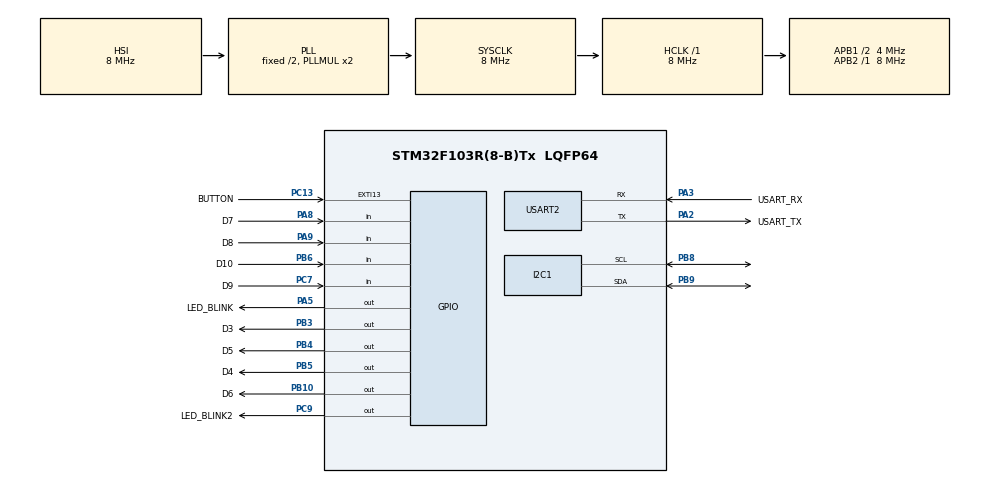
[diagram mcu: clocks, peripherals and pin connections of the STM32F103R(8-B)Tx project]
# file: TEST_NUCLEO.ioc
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Mcu.Family=STM32F1
Mcu.Name=STM32F103R(8-B)Tx
Mcu.Package=LQFP64
NVIC.PriorityGroup=NVIC_PRIORITYGROUP_4
NVIC.TIM2_IRQn=true\:0\:0\:false\:false\:true\:true\:true
PA13.GPIO_Label=TMS
PA13.Mode=Serial_Wire
PA13.Signal=SYS_JTMS-SWDIO
PA14.GPIO_Label=TCK
PA14.Mode=Serial_Wire
PA14.Signal=SYS_JTCK-SWCLK
PA2.GPIO_Label=USART_TX
PA2.GPIO_Mode=GPIO_MODE_AF_PP
PA2.GPIO_PuPd=GPIO_NOPULL
PA2.GPIO_Speed=GPIO_SPEED_FREQ_LOW
PA2.Mode=Asynchronous
PA2.Signal=USART2_TX
PA3.GPIO_Label=USART_RX
PA3.GPIO_Mode=GPIO_MODE_AF_PP
PA3.GPIO_PuPd=GPIO_NOPULL
PA3.GPIO_Speed=GPIO_SPEED_FREQ_LOW
PA3.Mode=Asynchronous
PA3.Signal=USART2_RX
PA5.GPIO_Label=LED_BLINK
PA5.GPIO_ModeDefaultOutputPP=GPIO_MODE_OUTPUT_PP
PA5.GPIO_PuPd=GPIO_NOPULL
PA5.GPIO_Speed=GPIO_SPEED_FREQ_LOW
PA5.Signal=GPIO_Output
PA8.GPIO_Label=D7
PA8.GPIO_PuPd=GPIO_PULLUP
PA8.Signal=GPIO_Input
PA9.GPIO_Label=D8
PA9.GPIO_PuPd=GPIO_PULLUP
PA9.Signal=GPIO_Input
PB10.GPIO_Label=D6
PB10.Signal=GPIO_Output
PB3.GPIO_Label=D3
PB3.Signal=GPIO_Output
PB4.GPIO_Label=D5
PB4.Signal=GPIO_Output
PB5.GPIO_Label=D4
PB5.Signal=GPIO_Output
PB6.GPIO_Label=D10
PB6.GPIO_PuPd=GPIO_PULLUP
PB6.Signal=GPIO_Input
PB8.Mode=I2C
PB8.Signal=I2C1_SCL
PB9.Mode=I2C
PB9.Signal=I2C1_SDA
PC13-TAMPER-RTC.GPIO_Label=BUTTON
PC13-TAMPER-RTC.GPIO_PuPd=GPIO_PULLUP
PC13-TAMPER-RTC.Signal=GPXTI13
PC14-OSC32_IN.Mode=LSE-External-Oscillator
PC14-OSC32_IN.Signal=RCC_OSC32_IN
PC15-OSC32_OUT.Mode=LSE-External-Oscillator
PC15-OSC32_OUT.Signal=RCC_OSC32_OUT
PC7.GPIO_Label=D9
PC7.GPIO_PuPd=GPIO_PULLUP
PC7.Signal=GPIO_Input
PC9.GPIO_Label=LED_BLINK2
PC9.Signal=GPIO_Output
PD0-OSC_IN.Mode=HSE-External-Clock-Source
PD0-OSC_IN.Signal=RCC_OSC_IN
PD1-OSC_OUT.Mode=HSE-External-Clock-Source
PD1-OSC_OUT.Signal=RCC_OSC_OUT
ProjectManager.HeapSize=0x200
ProjectManager.StackSize=0x400
ProjectManager.TargetToolchain=STM32CubeIDE
RCC.AHBFreq_Value=8000000
RCC.APB1CLKDivider=RCC_HCLK_DIV2
RCC.APB1Freq_Value=4000000
RCC.APB1TimFreq_Value=8000000
RCC.APB2Freq_Value=8000000
RCC.APB2TimFreq_Value=8000000
RCC.HCLKFreq_Value=8000000
RCC.RTCClockSelection=RCC_RTCCLKSOURCE_LSE
RCC.SYSCLKFreq_VALUE=8000000
RCC.SYSCLKSource=RCC_SYSCLKSOURCE_PLLCLK
RCC.USBFreq_Value=8000000
TIM2.Period=9
TIM2.Prescaler=7999
USART2.VirtualMode=VM_ASYNC
VP_TIM2_VS_ClockSourceINT.Mode=Internal
board=NUCLEO-F103RB

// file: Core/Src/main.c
/* USER CODE BEGIN Header */
/**
  ******************************************************************************
  * @file           : main.c
  * @brief          : Main program body
  ******************************************************************************
  * @attention
  *
  * <h2><center>&copy; Copyright (c) 2025 STMicroelectronics.
  * All rights reserved.</center></h2>
  *
  * This software component is licensed by ST under BSD 3-Clause license,
  * the "License"; You may not use this file except in compliance with the
  * License. You may obtain a copy of the License at:
  *                        opensource.org/licenses/BSD-3-Clause
  *
  ******************************************************************************
  */
/* USER CODE END Header */
#include "main.h"

/* USER CODE BEGIN Includes */
#include "software_timer.h"
#include "button.h"
#include "i2c-lcd.h"
#include "global.h"
#include "display.h"
#include "scheduler.h"
#include "fsm_automatic.h"
#include "fsm_manual.h"
#include "fsm_mode.h"
#include "tasks.h"
/* USER CODE END Includes */

I2C_HandleTypeDef hi2c1;

TIM_HandleTypeDef htim2;

UART_HandleTypeDef huart2;

void SystemClock_Config(void);
static void MX_GPIO_Init(void);
static void MX_USART2_UART_Init(void);
static void MX_TIM2_Init(void);
static void MX_I2C1_Init(void);

int main(void)
{

  /* MCU Configuration--------------------------------------------------------*/

  /* Reset of all peripherals, Initializes the Flash interface and the Systick. */
  HAL_Init();

  /* Configure the system clock */
  SystemClock_Config();

  /* Initialize all configured peripherals */
  MX_GPIO_Init();
  MX_USART2_UART_Init();
  MX_TIM2_Init();
  MX_I2C1_Init();
  /* USER CODE BEGIN 2 */
  HAL_TIM_Base_Start_IT(&htim2);
  lcd_init();
  SCH_Init();
  /* USER CODE END 2 */

  /* Infinite loop */
  /* USER CODE BEGIN WHILE */
  setTimer(3, 125);
  setTimer(4, 1000);

  SCH_Add_Task(timerRun, 0, 1);
  SCH_Add_Task(getKeyInput, 1, 1);
  SCH_Add_Task(task_led_blinky, 3, 1);
  SCH_Add_Task(fsm_mode_run, 4, 1);
  SCH_Add_Task(fsm_automatic_run, 5, 1);
  SCH_Add_Task(fsm_manual_run, 6, 1);
  SCH_Add_Task(pedestrian_cossing, 7, 1);
  while (1)
  {
	  SCH_Dispatch_Tasks();
    /* USER CODE END WHILE */

  }
}

void SystemClock_Config(void)
{
  RCC_OscInitTypeDef RCC_OscInitStruct = {0};
  RCC_ClkInitTypeDef RCC_ClkInitStruct = {0};

  /** Initializes the RCC Oscillators according to the specified parameters
  * in the RCC_OscInitTypeDef structure.
  */
  RCC_OscInitStruct.OscillatorType = RCC_OSCILLATORTYPE_HSI;
  RCC_OscInitStruct.HSIState = RCC_HSI_ON;
  RCC_OscInitStruct.HSICalibrationValue = RCC_HSICALIBRATION_DEFAULT;
  RCC_OscInitStruct.PLL.PLLState = RCC_PLL_ON;
  RCC_OscInitStruct.PLL.PLLSource = RCC_PLLSOURCE_HSI_DIV2;
  RCC_OscInitStruct.PLL.PLLMUL = RCC_PLL_MUL2;
  if (HAL_RCC_OscConfig(&RCC_OscInitStruct) != HAL_OK)
  {
    Error_Handler();
  }
  /** Initializes the CPU, AHB and APB buses clocks
  */
  RCC_ClkInitStruct.ClockType = RCC_CLOCKTYPE_HCLK|RCC_CLOCKTYPE_SYSCLK
                              |RCC_CLOCKTYPE_PCLK1|RCC_CLOCKTYPE_PCLK2;
  RCC_ClkInitStruct.SYSCLKSource = RCC_SYSCLKSOURCE_PLLCLK;
  RCC_ClkInitStruct.AHBCLKDivider = RCC_SYSCLK_DIV1;
  RCC_ClkInitStruct.APB1CLKDivider = RCC_HCLK_DIV2;
  RCC_ClkInitStruct.APB2CLKDivider = RCC_HCLK_DIV1;

  if (HAL_RCC_ClockConfig(&RCC_ClkInitStruct, FLASH_LATENCY_0) != HAL_OK)
  {
    Error_Handler();
  }
}

static void MX_I2C1_Init(void)
{

  hi2c1.Instance = I2C1;
  hi2c1.Init.ClockSpeed = 100000;
  hi2c1.Init.DutyCycle = I2C_DUTYCYCLE_2;
  hi2c1.Init.OwnAddress1 = 0;
  hi2c1.Init.AddressingMode = I2C_ADDRESSINGMODE_7BIT;
  hi2c1.Init.DualAddressMode = I2C_DUALADDRESS_DISABLE;
  hi2c1.Init.OwnAddress2 = 0;
  hi2c1.Init.GeneralCallMode = I2C_GENERALCALL_DISABLE;
  hi2c1.Init.NoStretchMode = I2C_NOSTRETCH_DISABLE;
  if (HAL_I2C_Init(&hi2c1) != HAL_OK)
  {
    Error_Handler();
  }

}

static void MX_TIM2_Init(void)
{

  TIM_ClockConfigTypeDef sClockSourceConfig = {0};
  TIM_MasterConfigTypeDef sMasterConfig = {0};

  htim2.Instance = TIM2;
  htim2.Init.Prescaler = 7999;
  htim2.Init.CounterMode = TIM_COUNTERMODE_UP;
  htim2.Init.Period = 9;
  htim2.Init.ClockDivision = TIM_CLOCKDIVISION_DIV1;
  htim2.Init.AutoReloadPreload = TIM_AUTORELOAD_PRELOAD_DISABLE;
  if (HAL_TIM_Base_Init(&htim2) != HAL_OK)
  {
    Error_Handler();
  }
  sClockSourceConfig.ClockSource = TIM_CLOCKSOURCE_INTERNAL;
  if (HAL_TIM_ConfigClockSource(&htim2, &sClockSourceConfig) != HAL_OK)
  {
    Error_Handler();
  }
  sMasterConfig.MasterOutputTrigger = TIM_TRGO_RESET;
  sMasterConfig.MasterSlaveMode = TIM_MASTERSLAVEMODE_DISABLE;
  if (HAL_TIMEx_MasterConfigSynchronization(&htim2, &sMasterConfig) != HAL_OK)
  {
    Error_Handler();
  }

}

static void MX_USART2_UART_Init(void)
{

  huart2.Instance = USART2;
  huart2.Init.BaudRate = 115200;
  huart2.Init.WordLength = UART_WORDLENGTH_8B;
  huart2.Init.StopBits = UART_STOPBITS_1;
  huart2.Init.Parity = UART_PARITY_NONE;
  huart2.Init.Mode = UART_MODE_TX_RX;
  huart2.Init.HwFlowCtl = UART_HWCONTROL_NONE;
  huart2.Init.OverSampling = UART_OVERSAMPLING_16;
  if (HAL_UART_Init(&huart2) != HAL_OK)
  {
    Error_Handler();
  }

}

static void MX_GPIO_Init(void)
{
  GPIO_InitTypeDef GPIO_InitStruct = {0};

  /* GPIO Ports Clock Enable */
  __HAL_RCC_GPIOC_CLK_ENABLE();
  __HAL_RCC_GPIOD_CLK_ENABLE();
  __HAL_RCC_GPIOA_CLK_ENABLE();
  __HAL_RCC_GPIOB_CLK_ENABLE();

  /*Configure GPIO pin Output Level */
  HAL_GPIO_WritePin(LED_BLINK_GPIO_Port, LED_BLINK_Pin, GPIO_PIN_RESET);

  /*Configure GPIO pin Output Level */
  HAL_GPIO_WritePin(GPIOB, D6_Pin|D3_Pin|D5_Pin|D4_Pin, GPIO_PIN_RESET);

  /*Configure GPIO pin Output Level */
  HAL_GPIO_WritePin(LED_BLINK2_GPIO_Port, LED_BLINK2_Pin, GPIO_PIN_RESET);

  /*Configure GPIO pin : BUTTON_Pin */
  GPIO_InitStruct.Pin = BUTTON_Pin;
  GPIO_InitStruct.Mode = GPIO_MODE_IT_RISING;
  GPIO_InitStruct.Pull = GPIO_PULLUP;
  HAL_GPIO_Init(BUTTON_GPIO_Port, &GPIO_InitStruct);

  /*Configure GPIO pin : LED_BLINK_Pin */
  GPIO_InitStruct.Pin = LED_BLINK_Pin;
  GPIO_InitStruct.Mode = GPIO_MODE_OUTPUT_PP;
  GPIO_InitStruct.Pull = GPIO_NOPULL;
  GPIO_InitStruct.Speed = GPIO_SPEED_FREQ_LOW;
  HAL_GPIO_Init(LED_BLINK_GPIO_Port, &GPIO_InitStruct);

  /*Configure GPIO pins : D6_Pin D3_Pin D5_Pin D4_Pin */
  GPIO_InitStruct.Pin = D6_Pin|D3_Pin|D5_Pin|D4_Pin;
  GPIO_InitStruct.Mode = GPIO_MODE_OUTPUT_PP;
  GPIO_InitStruct.Pull = GPIO_NOPULL;
  GPIO_InitStruct.Speed = GPIO_SPEED_FREQ_LOW;
  HAL_GPIO_Init(GPIOB, &GPIO_InitStruct);

  /*Configure GPIO pin : D9_Pin */
  GPIO_InitStruct.Pin = D9_Pin;
  GPIO_InitStruct.Mode = GPIO_MODE_INPUT;
  GPIO_InitStruct.Pull = GPIO_PULLUP;
  HAL_GPIO_Init(D9_GPIO_Port, &GPIO_InitStruct);

  /*Configure GPIO pin : LED_BLINK2_Pin */
  GPIO_InitStruct.Pin = LED_BLINK2_Pin;
  GPIO_InitStruct.Mode = GPIO_MODE_OUTPUT_PP;
  GPIO_InitStruct.Pull = GPIO_NOPULL;
  GPIO_InitStruct.Speed = GPIO_SPEED_FREQ_LOW;
  HAL_GPIO_Init(LED_BLINK2_GPIO_Port, &GPIO_InitStruct);

  /*Configure GPIO pins : D7_Pin D8_Pin */
  GPIO_InitStruct.Pin = D7_Pin|D8_Pin;
  GPIO_InitStruct.Mode = GPIO_MODE_INPUT;
  GPIO_InitStruct.Pull = GPIO_PULLUP;
  HAL_GPIO_Init(GPIOA, &GPIO_InitStruct);

  /*Configure GPIO pin : D10_Pin */
  GPIO_InitStruct.Pin = D10_Pin;
  GPIO_InitStruct.Mode = GPIO_MODE_INPUT;
  GPIO_InitStruct.Pull = GPIO_PULLUP;
  HAL_GPIO_Init(D10_GPIO_Port, &GPIO_InitStruct);

}

/* USER CODE BEGIN 4 */
void HAL_TIM_PeriodElapsedCallback(TIM_HandleTypeDef *htim) {
    if (htim->Instance == TIM2) {
    	SCH_Update();
    }
}
/* USER CODE END 4 */

void Error_Handler(void)
{
  __disable_irq();
  while (1)
  {
  }
}

/************************ (C) COPYRIGHT STMicroelectronics *****END OF FILE****/
